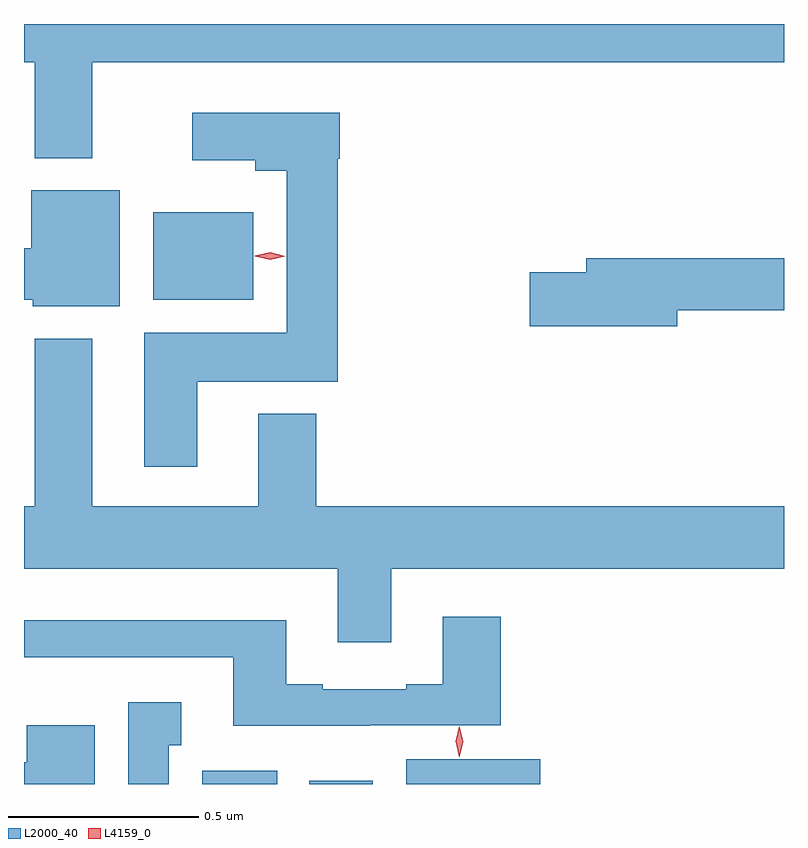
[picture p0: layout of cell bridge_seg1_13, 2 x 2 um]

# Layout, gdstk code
import gdstk
lib = gdstk.Library(unit=1e-6, precision=1e-09)
def R(c, l, rs):  # rectangles x0, y0, x1, y1
    for r in rs: c.add(gdstk.rectangle(r[:2], r[2:], *l))
def P(c, l, *ps):  # polygons
    for p in ps: c.add(gdstk.Polygon(p, *l))
L2000_40 = (2000, 40)
L4159_0 = (4159, 0)

bridge_seg1_13 = lib.new_cell('bridge_seg1_13')
R(bridge_seg1_13, L2000_40, [(790.958,559.157,791.155,559.192), (791.24,559.157,791.407,559.165), (791.495,559.157,791.848,559.222), (790.829,560.432,791.092,560.662)])
P(bridge_seg1_13, L2000_40, [(790.669,561.056),(792.489,561.056),(792.489,561.157),(790.489,561.157),(790.489,561.056),(790.517,561.056),(790.517,560.804),(790.669,560.804)],
  [(790.945,560.216),(791.315,560.216),(791.315,560.802),(791.32,560.802),(791.32,560.923),(790.932,560.923),(790.932,560.798),(791.097,560.798),(791.097,560.771),(791.18,560.771),(791.18,560.344),(790.805,560.344),(790.805,559.992),(790.945,559.992)],
  [(790.741,560.719),(790.508,560.719),(790.508,560.567),(790.489,560.567),(790.489,560.432),(790.512,560.432),(790.512,560.414),(790.741,560.414)],
  [(792.208,560.404),(792.489,560.404),(792.489,560.54),(791.969,560.54),(791.969,560.504),(791.82,560.504),(791.82,560.362),(792.208,560.362)],
  [(791.455,559.724),(792.489,559.724),(792.489,559.888),(791.258,559.888),(791.258,560.131),(791.105,560.131),(791.105,559.888),(790.669,559.888),(790.669,560.329),(790.517,560.329),(790.517,559.888),(790.489,559.888),(790.489,559.724),(791.315,559.724),(791.315,559.53),(791.455,559.53)],
  [(791.399,559.311),(791.744,559.311),(791.744,559.597),(791.591,559.597),(791.591,559.42),(791.495,559.42),(791.495,559.407),(791.275,559.407),(791.275,559.42),(791.179,559.42),(791.179,559.588),(790.489,559.588),(790.489,559.491),(791.039,559.491),(791.039,559.31),(791.399,559.31)],
  [(790.87,559.259),(790.903,559.259),(790.903,559.372),(790.763,559.372),(790.763,559.157),(790.87,559.157)],
  [(790.675,559.312),(790.496,559.312),(790.496,559.214),(790.489,559.214),(790.489,559.157),(790.675,559.157)])
P(bridge_seg1_13, L4159_0, [(791.634,559.228),(791.634,559.228),(791.625,559.269),(791.635,559.309),(791.635,559.309),(791.635,559.309),(791.645,559.268),(791.634,559.228)],
  [(791.137,560.536),(791.096,560.546),(791.096,560.546),(791.096,560.547),(791.137,560.556),(791.177,560.546),(791.177,560.546),(791.177,560.546)])

lib.write_gds('bridge_seg1_13.gds')
